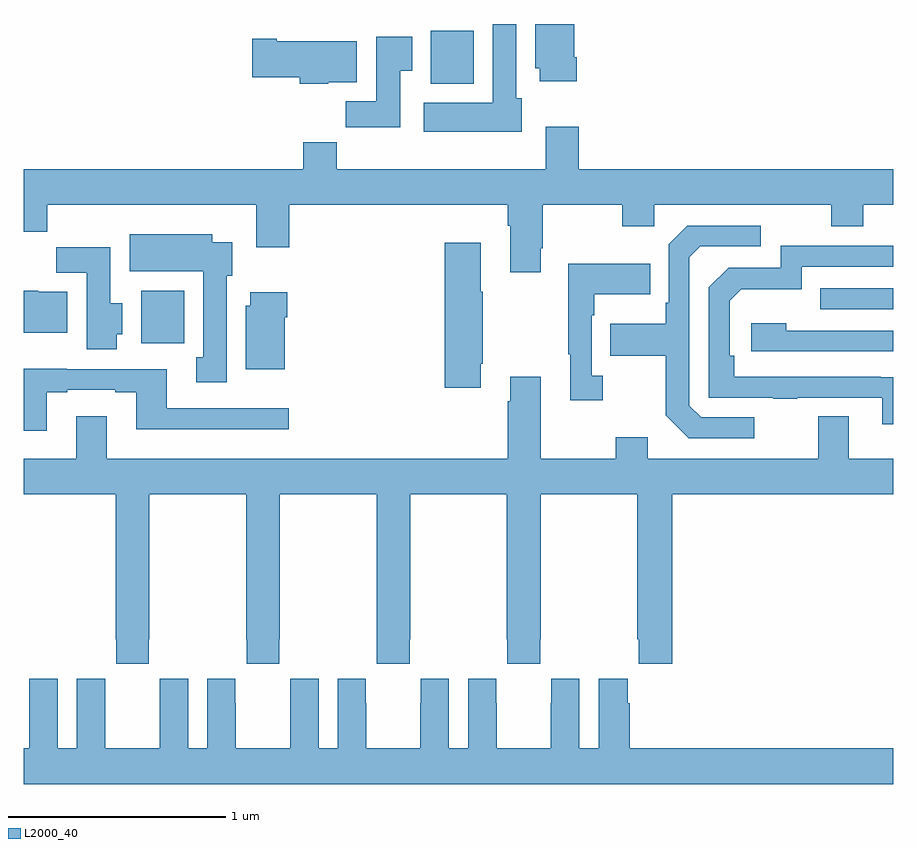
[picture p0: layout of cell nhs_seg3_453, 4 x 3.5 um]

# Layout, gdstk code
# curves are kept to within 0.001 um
import gdstk
lib = gdstk.Library(unit=1e-6, precision=1e-09)
def R(c, l, rs):  # rectangles x0, y0, x1, y1
    for r in rs: c.add(gdstk.rectangle(r[:2], r[2:], *l))
def P(c, l, *ps):  # polygons
    for p in ps: c.add(gdstk.Polygon(p, *l))
L2000_40 = (2000, 40)

nhs_seg3_453 = lib.new_cell('nhs_seg3_453')
R(nhs_seg3_453, L2000_40, [(133.541,714.932,133.738,715.174), (136.663,715.089,137,715.185), (134.873,716.126,135.07,716.368)])
P(nhs_seg3_453, L2000_40, [(135.545,716.248),(135.532,716.248),(135.532,716.4),(135.353,716.4),(135.353,716.196),(135.374,716.196),(135.374,716.136),(135.545,716.136)],
  [(135.292,716.058),(135.265,716.058),(135.265,716.4),(135.158,716.4),(135.158,716.038),(134.841,716.038),(134.841,715.904),(135.292,715.904)],
  [(134.731,716.185),(134.788,716.185),(134.788,716.341),(134.621,716.341),(134.621,716.044),(134.482,716.044),(134.482,715.926),(134.731,715.926)],
  [(134.4,716.132),(134.533,716.132),(134.533,716.32),(134.164,716.32),(134.164,716.333),(134.052,716.333),(134.052,716.155),(134.27,716.155),(134.27,716.126),(134.4,716.126)],
  [(135.401,715.927),(135.401,715.732),(134.441,715.732),(134.441,715.856),(134.285,715.856),(134.285,715.732),(133,715.732),(133,715.444),(133.109,715.444),(133.109,715.568),(134.069,715.568),(134.069,715.374),(134.222,715.374),(134.222,715.568),(135.227,715.568),(135.227,715.472),(135.239,715.472),(135.239,715.257),(135.379,715.257),(135.379,715.369),(135.387,715.369),(135.387,715.568),(135.754,715.568),(135.754,715.469),(135.9,715.469),(135.9,715.568),(136.714,715.568),(136.714,715.469),(136.861,715.469),(136.861,715.568),(137,715.568),(137,715.732),(135.554,715.732),(135.554,715.927)],
  [(136.36,714.591),(136.116,714.591),(136.062,714.645),(136.062,715.326),(136.113,715.377),(136.39,715.377),(136.39,715.473),(136.053,715.473),(135.966,715.386),(135.966,715.117),(135.954,715.117),(135.954,715.021),(135.697,715.021),(135.697,714.874),(135.954,714.874),(135.954,714.601),(136.059,714.495),(136.36,714.495)],
  [(133.933,715.242),(133.96,715.242),(133.96,715.396),(133.867,715.396),(133.867,715.432),(133.487,715.432),(133.487,715.262),(133.826,715.262),(133.826,714.866),(133.793,714.866),(133.793,714.753),(133.933,714.753)],
  [(135.103,714.838),(135.111,714.838),(135.111,715.169),(135.103,715.169),(135.103,715.393),(134.936,715.393),(134.936,714.726),(135.103,714.726)],
  [(137,714.776),(136.268,714.777),(136.268,714.874),(136.248,714.874),(136.248,715.128),(136.301,715.181),(136.578,715.181),(136.578,715.284),(137,715.284),(137,715.38),(136.482,715.38),(136.482,715.278),(136.242,715.278),(136.152,715.188),(136.152,714.681),(136.447,714.681),(136.447,714.676),(136.559,714.676),(136.559,714.681),(136.949,714.681),(136.949,714.558),(137,714.558)],
  [(133.429,714.972),(133.453,714.972),(133.453,715.116),(133.399,715.116),(133.399,715.374),(133.15,715.374),(133.15,715.256),(133.289,715.256),(133.289,714.905),(133.429,714.905)],
  [(135.664,714.782),(135.612,714.782),(135.612,715.061),(135.625,715.061),(135.625,715.157),(135.881,715.157),(135.881,715.297),(135.504,715.297),(135.504,714.881),(135.515,714.881),(135.515,714.669),(135.664,714.669)],
  [(133.201,715.168),(133.068,715.168),(133.068,715.174),(133,715.174),(133,714.98),(133.201,714.98)],
  [(134.2,715.052),(134.213,715.052),(134.213,715.165),(134.042,715.165),(134.042,715.104),(134.021,715.104),(134.021,714.812),(134.2,714.812)],
  [(137,714.99),(136.508,714.99),(136.508,715.024),(136.347,715.024),(136.347,714.894),(137,714.894)],
  [(133.105,714.705),(133.201,714.705),(133.201,714.717),(133.421,714.717),(133.421,714.705),(133.517,714.705),(133.517,714.536),(134.218,714.536),(134.218,714.633),(133.657,714.633),(133.657,714.813),(133.197,714.813),(133.197,714.814),(133,714.814),(133,714.528),(133.105,714.528)],
  [(133.381,714.595),(133.241,714.595),(133.241,714.4),(133,714.4),(133,714.236),(133.423,714.236),(133.423,713.569),(133.425,713.569),(133.425,713.457),(133.575,713.457),(133.575,713.569),(133.578,713.569),(133.578,714.236),(134.023,714.236),(134.023,713.569),(134.025,713.569),(134.025,713.457),(134.175,713.457),(134.175,713.569),(134.178,713.569),(134.178,714.236),(134.623,714.236),(134.623,713.569),(134.625,713.569),(134.625,713.457),(134.775,713.457),(134.775,713.569),(134.778,713.569),(134.778,714.236),(135.223,714.236),(135.223,713.569),(135.225,713.569),(135.225,713.457),(135.375,713.457),(135.375,713.569),(135.378,713.569),(135.378,714.236),(135.823,714.236),(135.823,713.569),(135.829,713.569),(135.829,713.457),(135.983,713.457),(135.983,714.236),(137,714.236),(137,714.4),(136.795,714.4),(136.795,714.595),(136.655,714.595),(136.655,714.4),(135.871,714.4),(135.871,714.499),(135.724,714.499),(135.724,714.4),(135.379,714.4),(135.379,714.778),(135.239,714.778),(135.239,714.665),(135.227,714.665),(135.227,714.4),(133.381,714.4)],
  [(137,713.068),(135.788,713.068),(135.788,713.276),(135.778,713.276),(135.778,713.389),(135.644,713.389),(135.644,713.068),(135.556,713.068),(135.556,713.389),(135.426,713.389),(135.426,713.276),(135.425,713.276),(135.425,713.068),(135.175,713.068),(135.175,713.276),(135.174,713.276),(135.174,713.389),(135.044,713.389),(135.044,713.068),(134.956,713.068),(134.956,713.389),(134.826,713.389),(134.826,713.276),(134.825,713.276),(134.825,713.068),(134.575,713.068),(134.575,713.276),(134.574,713.276),(134.574,713.389),(134.444,713.389),(134.444,713.068),(134.356,713.068),(134.356,713.389),(134.226,713.389),(134.226,713.276),(134.225,713.276),(134.225,713.068),(133.975,713.068),(133.975,713.276),(133.974,713.276),(133.974,713.389),(133.844,713.389),(133.844,713.068),(133.756,713.068),(133.756,713.389),(133.626,713.389),(133.626,713.276),(133.625,713.276),(133.625,713.068),(133.375,713.068),(133.375,713.276),(133.374,713.276),(133.374,713.389),(133.244,713.389),(133.244,713.068),(133.156,713.068),(133.156,713.389),(133.026,713.389),(133.026,713.276),(133.025,713.276),(133.025,713.068),(133,713.068),(133,712.904),(137,712.904)])

lib.write_gds('nhs_seg3_453.gds')
